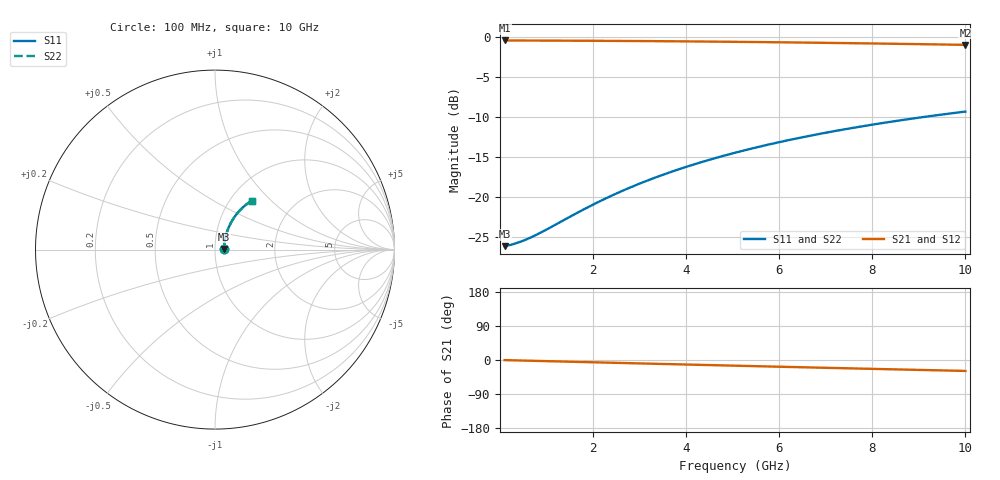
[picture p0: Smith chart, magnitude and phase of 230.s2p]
# Hz S RI R 50.00
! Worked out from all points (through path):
!   100 points, 100 MHz to 10 GHz, reference 50 ohm
!   highest |S21| = -0.43 dB at 100 MHz (marker M1); lowest = -1.0 dB at 10 GHz (marker M2)
!   group delay of S21, straight-line fit = 8.03 ps
!   lowest |S11| = -26.2 dB at 100 MHz (marker M3), VSWR 1.10, Z = 55.1 + j0.379 ohm
!   |S11| at or under -10 dB: start of sweep to 9.132 GHz
!   |S22| runs from -26.2 to -9.3 dB; largest |S21 - S12| = 0
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1e8  0.0488 0.00343  0.9511 -0.005  0.9511 -0.005  0.0488 0.00343
3e8  0.0495 0.0103  0.9505 -0.015  0.9505 -0.015  0.0495 0.0103
4e8  0.0498 0.0137  0.9501 -0.02  0.9501 -0.02  0.0498 0.0137
5e8  0.0501 0.0171  0.9498 -0.0249  0.9498 -0.0249  0.0501 0.0171
7e8  0.0508 0.0239  0.9491 -0.0349  0.9491 -0.0349  0.0508 0.0239
1e9  0.0521 0.0341  0.9478 -0.0498  0.9478 -0.0498  0.0521 0.0341
1.8e9  0.0566 0.0609  0.9429 -0.0892  0.9429 -0.0892  0.0566 0.0609
2.2e9  0.0597 0.0742  0.9397 -0.1087  0.9397 -0.1087  0.0597 0.0742
2.6e9  0.0633 0.0872  0.9358 -0.128  0.9358 -0.128  0.0633 0.0872
3e9  0.0674 0.1001  0.9315 -0.1472  0.9315 -0.1472  0.0674 0.1001
3.4e9  0.0719 0.1127  0.9266 -0.1661  0.9266 -0.1661  0.0719 0.1127
3.8e9  0.077 0.1251  0.9211 -0.1848  0.9211 -0.1848  0.077 0.1251
4.2e9  0.0826 0.1373  0.9151 -0.2032  0.9151 -0.2032  0.0826 0.1373
4.6e9  0.0886 0.1491  0.9086 -0.2213  0.9086 -0.2213  0.0886 0.1491
5.1e9  0.0968 0.1635  0.8999 -0.2436  0.8999 -0.2436  0.0968 0.1635
5.5e9  0.1038 0.1746  0.8923 -0.261  0.8923 -0.261  0.1038 0.1746
5.9e9  0.1112 0.1854  0.8843 -0.2781  0.8843 -0.2781  0.1112 0.1854
6.7e9  0.1271 0.2058  0.8671 -0.3111  0.8671 -0.3111  0.1271 0.2058
7.5e9  0.1444 0.2246  0.8484 -0.3426  0.8484 -0.3426  0.1444 0.2246
8.4e9  0.1652 0.2438  0.8257 -0.3761  0.8257 -0.3761  0.1652 0.2438
9.2e9  0.1848 0.2591  0.8043 -0.4041  0.8043 -0.4041  0.1848 0.2591
1e10  0.2051 0.2726  0.782 -0.4303  0.782 -0.4303  0.2051 0.2726
